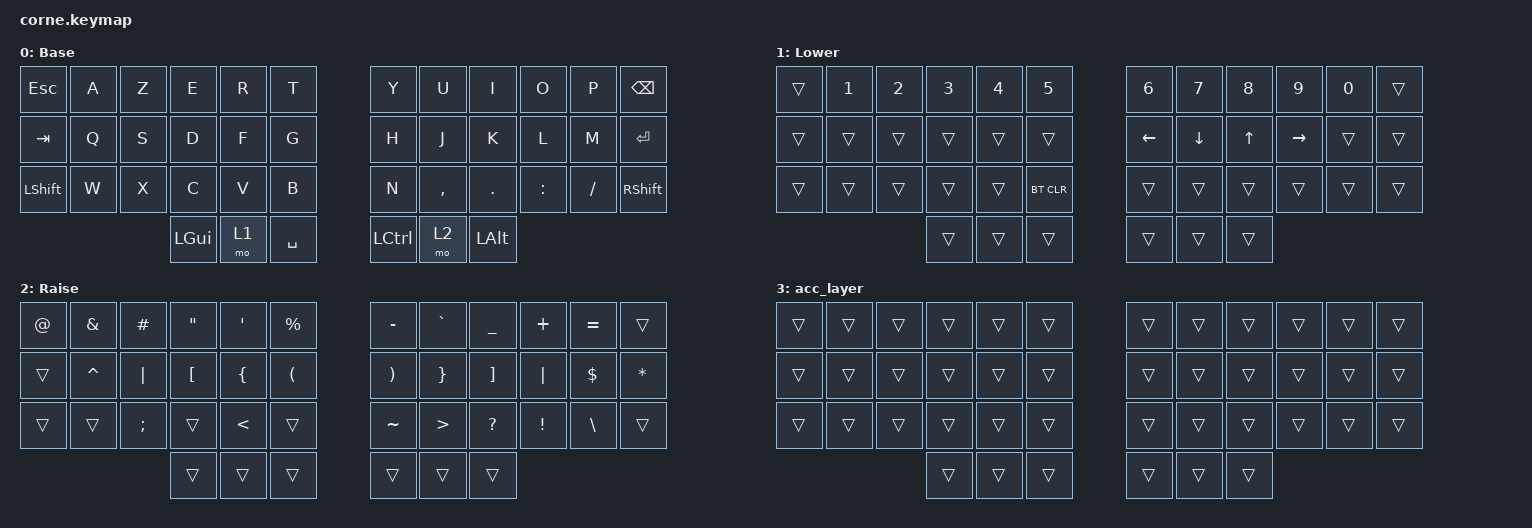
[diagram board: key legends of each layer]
/*
 * Copyright (c) 2020 The ZMK Contributors
 *
 * SPDX-License-Identifier: MIT
 */

#include <behaviors.dtsi>
#include <dt-bindings/zmk/bt.h>
#include <dt-bindings/zmk/keys.h>

/ {
    keymap {
        compatible = "zmk,keymap";

        default_layer {
            // -----------------------------------------------------------------------------------------
            // |  TAB |  Q  |  W  |  E  |  R  |  T  |   |  Y  |  U   |  I  |  O  |  P  | BKSP |
            // | CTRL |  A  |  S  |  D  |  F  |  G  |   |  H  |  J   |  K  |  L  |  ;  |  '   |
            // | SHFT |  Z  |  X  |  C  |  V  |  B  |   |  N  |  M   |  ,  |  .  |  /  | ESC  |
            //                    | GUI | LWR | SPC |   | ENT | RSE  | ALT |

            display-name = "Base";
            bindings = <
&kp ESCAPE      &kp A  &kp Z  &kp E     &kp R  &kp T        &kp Y             &kp U      &kp I         &kp O      &kp P     &kp BSPC
&kp TAB         &kp Q  &kp S  &kp D     &kp F  &kp G        &kp H             &kp J      &kp K         &kp L      &kp M     &kp ENTER
&kp LEFT_SHIFT  &kp W  &kp X  &kp C     &kp V  &kp B        &kp N             &kp COMMA  &kp PERIOD    &kp COLON  &kp FSLH  &kp RIGHT_SHIFT
                              &kp LGUI  &mo 1  &kp SPACE    &kp LEFT_CONTROL  &mo 2      &kp LEFT_ALT
            >;
        };

        lower_layer {
            // -----------------------------------------------------------------------------------------
            // |  TAB |  1  |  2  |  3  |  4  |  5  |   |  6  |  7  |  8  |  9  |  0  | BKSP |
            // | BTCLR| BT1 | BT2 | BT3 | BT4 | BT5 |   | LFT | DWN |  UP | RGT |     |      |
            // | SHFT |     |     |     |     |     |   |     |     |     |     |     |      |
            //                    | GUI |     | SPC |   | ENT |     | ALT |

            display-name = "Lower";
            bindings = <
&trans  &kp N1  &kp N2  &kp N3  &kp N4  &kp N5        &kp N6    &kp N7    &kp N8  &kp N9     &kp N0  &trans
&trans  &trans  &trans  &trans  &trans  &trans        &kp LEFT  &kp DOWN  &kp UP  &kp RIGHT  &trans  &trans
&trans  &trans  &trans  &trans  &trans  &bt BT_CLR    &trans    &trans    &trans  &trans     &trans  &trans
                        &trans  &trans  &trans        &trans    &trans    &trans
            >;
        };

        raise_layer {
            // -----------------------------------------------------------------------------------------
            // |  TAB |  !  |  @  |  #  |  $  |  %  |   |  ^  |  &  |  *  |  (  |  )  | BKSP |
            // | CTRL |     |     |     |     |     |   |  -  |  =  |  [  |  ]  |  \  |  `   |
            // | SHFT |     |     |     |     |     |   |  _  |  +  |  {  |  }  | "|" |  ~   |
            //                    | GUI |     | SPC |   | ENT |     | ALT |

            display-name = "Raise";
            bindings = <
&kp AT  &kp AMPS   &kp HASH       &kp DOUBLE_QUOTES  &kp SQT         &kp PRCNT               &kp MINUS              &kp GRAVE         &kp UNDER          &kp PLUS  &kp EQUAL      &trans
&trans  &kp CARET  &kp PIPE       &kp LEFT_BRACKET   &kp LEFT_BRACE  &kp LEFT_PARENTHESIS    &kp RIGHT_PARENTHESIS  &kp RIGHT_BRACE   &kp RIGHT_BRACKET  &kp PIPE  &kp DOLLAR     &kp ASTRK
&trans  &trans     &kp SEMICOLON  &trans             &kp LESS_THAN   &trans                  &kp TILDE              &kp GREATER_THAN  &kp QUESTION       &kp EXCL  &kp BACKSLASH  &trans
                                  &trans             &trans          &trans                  &trans                 &trans            &trans
            >;
        };

        acc_layer {
            bindings = <
&trans  &trans  &trans  &trans  &trans  &trans    &trans  &trans  &trans  &trans  &trans  &trans
&trans  &trans  &trans  &trans  &trans  &trans    &trans  &trans  &trans  &trans  &trans  &trans
&trans  &trans  &trans  &trans  &trans  &trans    &trans  &trans  &trans  &trans  &trans  &trans
                        &trans  &trans  &trans    &trans  &trans  &trans
            >;
        };
    };

    conditional_layers {
        compatible = "zmk,conditional-layers";

        LandR {
            if-layers = <1 2>;
            then-layer = <3>;
        };
    };
};
